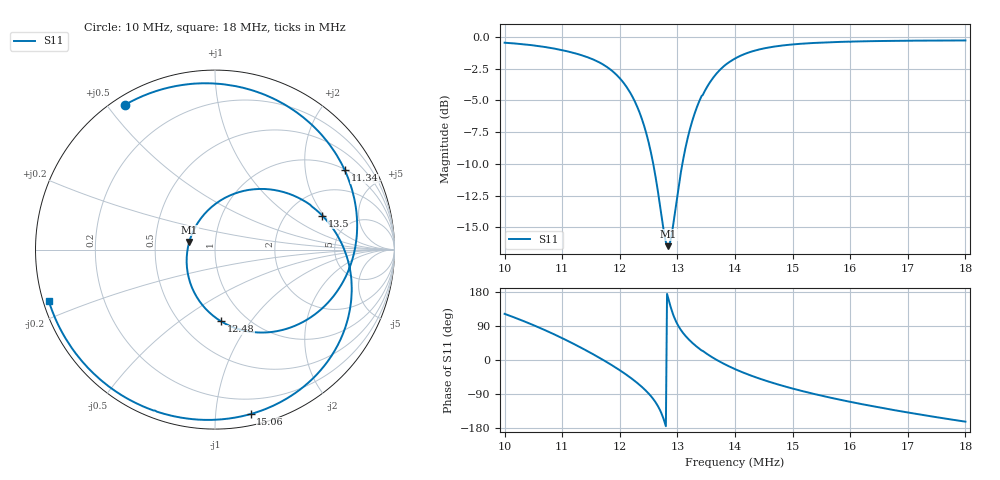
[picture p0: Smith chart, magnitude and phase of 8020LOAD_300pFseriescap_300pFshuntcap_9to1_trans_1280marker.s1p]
!File created by NanoVNA
# Hz S RI R 50
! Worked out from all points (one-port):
!   401 points, 10 MHz to 18 MHz, reference 50 ohm
!   lowest |S11| = -16.5 dB at 12.84 MHz (marker M1), VSWR 1.35, Z = 37.3 + j3.28 ohm
!   |S11| at or under -10 dB: 12.58 MHz to 13.09 MHz (505.2 kHz wide, 3.94 % of centre)
!   S11 on the Smith chart (normalised r, x): 10 MHz: 0.03, +0.56; 11.34 MHz: 1.04, +3.25; 12.48 MHz: 0.77, -0.73; 13.5 MHz: 3.08, +1.92; 15.06 MHz: 0.08, -1.24; 18 MHz: 0.02, -0.15
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1e7  -0.5002 0.8073
1.03e7  -0.2344 0.908
1.054e7  0.00882 0.9245
1.078e7  0.2595 0.8695
1.1e7  0.4751 0.7496
1.134e7  0.7231 0.4418
1.152e7  0.7848 0.2341
1.168e7  0.7854 0.039
1.184e7  0.7286 -0.15
1.2e7  0.6126 -0.3127
1.226e7  0.3176 -0.4588
1.248e7  0.0338 -0.3998
1.268e7  -0.1381 -0.1856
1.278e7  -0.1575 -0.0431
1.284e7  -0.1436 0.043
1.29e7  -0.1104 0.1246
1.3e7  -0.0183 0.2381
1.322e7  0.2755 0.3377
1.35e7  0.5982 0.1889
1.374e7  0.7406 -0.0606
1.4e7  0.7514 -0.3353
1.448e7  0.5555 -0.7078
1.5e7  0.2367 -0.9046
1.506e7  0.1989 -0.9163
1.55e7  -0.0676 -0.9484
1.6e7  -0.3333 -0.8972
1.7e7  -0.724 -0.6413
1.8e7  -0.9257 -0.2881
